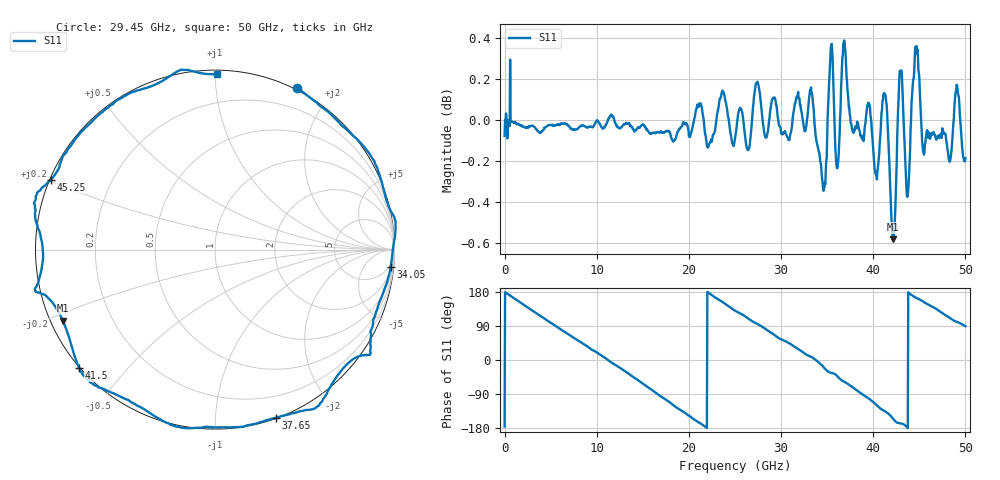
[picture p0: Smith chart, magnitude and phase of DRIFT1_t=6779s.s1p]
!Created with skrf (http://scikit-rf.org).
# Hz S RI R 50.0
!freq ReS11 ImS11
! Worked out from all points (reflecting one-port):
!   1001 points, 300 kHz to 50 GHz, reference 50 ohm
!   lowest |S11| = -0.6 dB at 42.15 GHz (marker M1), VSWR 29.95, Z = 1.75 - j11.1 ohm
!   phase of S11 starts at -176 deg and turns -815 deg over the sweep
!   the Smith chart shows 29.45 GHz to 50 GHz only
!   S11 on the Smith chart (normalised r, x): 29.45 GHz: -0.02, +1.63; 34.05 GHz: 3, -20; 37.65 GHz: 0.00, -1.43; 41.5 GHz: -0.00, -0.37; 45.25 GHz: 0.00, +0.20; 50 GHz: 0.02, +1.01
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300000  -0.9883 -0.0744
1.550291e9  -0.8992 0.4313
3.30028e9  -0.581 0.8087
6.250262e9  0.2013 0.9774
9.500243e9  0.8902 0.4462
1.115023e10  0.9988 0.02
1.250022e10  0.9328 -0.3475
1.580021e10  0.2412 -0.9624
1.73502e10  -0.209 -0.971
1.875019e10  -0.5953 -0.7949
2.155017e10  -0.9921 -0.1356
2.350016e10  -0.9211 0.4227
2.500015e10  -0.6388 0.7558
2.735014e10  -0.1086 1.015
2.945012e10  0.4551 0.8999
3.125011e10  0.7822 0.6239
3.40501e10  0.9787 -0.0974
3.520009e10  0.868 -0.5352
3.750008e10  0.3842 -0.9253
3.765007e10  0.3415 -0.9365
3.955006e10  -0.2132 -0.9864
4.150005e10  -0.7574 -0.66
4.215005e10  -0.8474 -0.3961
4.290004e10  -1.001 -0.2335
4.375004e10  -0.9593 -0.000555
4.525003e10  -0.9148 0.3899
4.770001e10  -0.5004 0.8568
5e10  0.0138 0.9786
